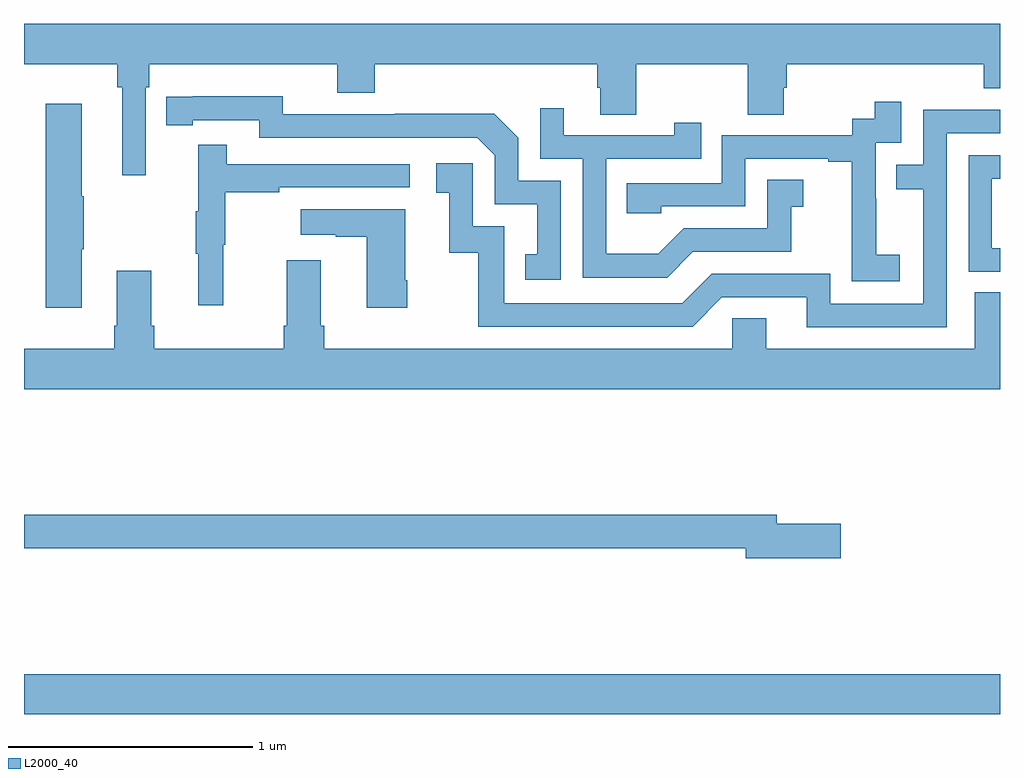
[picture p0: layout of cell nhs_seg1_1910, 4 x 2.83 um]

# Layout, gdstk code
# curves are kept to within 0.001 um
import gdstk
lib = gdstk.Library(unit=1e-6, precision=1e-09)
def R(c, l, rs):  # rectangles x0, y0, x1, y1
    for r in rs: c.add(gdstk.rectangle(r[:2], r[2:], *l))
def P(c, l, *ps):  # polygons
    for p in ps: c.add(gdstk.Polygon(p, *l))
L2000_40 = (2000, 40)

nhs_seg1_1910 = lib.new_cell('nhs_seg1_1910')
R(nhs_seg1_1910, L2000_40, [(215,541.076,219,541.24)])
P(nhs_seg1_1910, L2000_40, [(215.499,543.644),(215.513,543.644),(215.513,543.74),(216.284,543.74),(216.284,543.623),(216.437,543.623),(216.437,543.74),(217.349,543.74),(217.349,543.642),(217.361,543.642),(217.361,543.532),(217.509,543.532),(217.509,543.74),(217.966,543.74),(217.966,543.532),(218.113,543.532),(218.113,543.642),(218.126,543.642),(218.126,543.74),(218.933,543.74),(218.933,543.641),(219,543.641),(219,543.904),(215,543.904),(215,543.74),(215.383,543.74),(215.383,543.644),(215.402,543.644),(215.402,543.285),(215.499,543.285)],
  [(217.2,543.261),(217.026,543.261),(217.026,543.438),(216.928,543.536),(216.52,543.536),(216.52,543.534),(216.06,543.534),(216.06,543.607),(215.584,543.606),(215.584,543.49),(215.692,543.49),(215.692,543.51),(215.964,543.51),(215.964,543.438),(216.858,543.438),(216.93,543.366),(216.93,543.165),(217.103,543.165),(217.103,542.961),(217.054,542.961),(217.054,542.856),(217.2,542.856)],
  [(218.59,542.959),(218.492,542.959),(218.492,543.188),(218.49,543.188),(218.49,543.417),(218.595,543.417),(218.595,543.586),(218.487,543.586),(218.487,543.516),(218.394,543.516),(218.394,543.447),(217.86,543.447),(217.86,543.252),(217.471,543.252),(217.471,543.129),(217.611,543.129),(217.611,543.156),(217.956,543.156),(217.956,543.351),(218.297,543.351),(218.297,543.339),(218.393,543.339),(218.393,543.055),(218.392,543.055),(218.392,542.849),(218.59,542.849)],
  [(215.236,542.98),(215.244,542.98),(215.244,543.197),(215.236,543.197),(215.236,543.577),(215.09,543.577),(215.09,542.742),(215.236,542.742)],
  [(217.741,542.97),(218.145,542.97),(218.145,543.155),(218.194,543.155),(218.194,543.265),(218.046,543.265),(218.046,543.066),(217.704,543.066),(217.6,542.962),(217.386,542.962),(217.386,543.351),(217.775,543.351),(217.775,543.499),(217.664,543.499),(217.664,543.447),(217.213,543.447),(217.213,543.559),(217.116,543.559),(217.116,543.351),(217.29,543.351),(217.29,542.865),(217.636,542.865)],
  [(218.781,543.456),(219,543.456),(219,543.552),(218.685,543.552),(218.685,543.327),(218.575,543.327),(218.575,543.226),(218.685,543.226),(218.685,542.757),(218.304,542.757),(218.304,542.88),(217.818,542.88),(217.698,542.76),(216.969,542.76),(216.969,543.075),(216.84,543.075),(216.84,543.334),(216.69,543.334),(216.69,543.213),(216.743,543.213),(216.743,542.967),(216.861,542.967),(216.861,542.664),(217.74,542.664),(217.86,542.784),(218.207,542.784),(218.207,542.661),(218.781,542.661)],
  [(215.816,543),(215.824,543),(215.824,543.214),(216.047,543.214),(216.047,543.234),(216.58,543.234),(216.58,543.33),(215.831,543.33),(215.831,543.409),(215.714,543.409),(215.714,543.137),(215.703,543.137),(215.703,542.963),(215.714,542.963),(215.714,542.751),(215.816,542.751)],
  [(219,542.985),(218.967,542.985),(218.967,543.27),(219,543.27),(219,543.366),(218.871,543.366),(218.871,542.889),(219,542.889)],
  [(216.57,542.854),(216.562,542.854),(216.562,543.145),(216.135,543.145),(216.135,543.041),(216.278,543.041),(216.278,543.031),(216.404,543.031),(216.404,542.742),(216.57,542.742)],
  [(216.217,542.668),(216.217,542.935),(216.077,542.935),(216.077,542.668),(216.065,542.668),(216.065,542.572),(215.534,542.572),(215.534,542.668),(215.521,542.668),(215.521,542.893),(215.381,542.893),(215.381,542.668),(215.369,542.668),(215.369,542.572),(215,542.572),(215,542.408),(219,542.408),(219,542.804),(218.897,542.804),(218.897,542.572),(218.041,542.572),(218.041,542.699),(217.902,542.699),(217.902,542.572),(216.23,542.572),(216.23,542.668)],
  [(218.347,541.856),(218.086,541.856),(218.086,541.892),(215,541.892),(215,541.756),(217.958,541.756),(217.958,541.714),(218.347,541.714)])

lib.write_gds('nhs_seg1_1910.gds')
